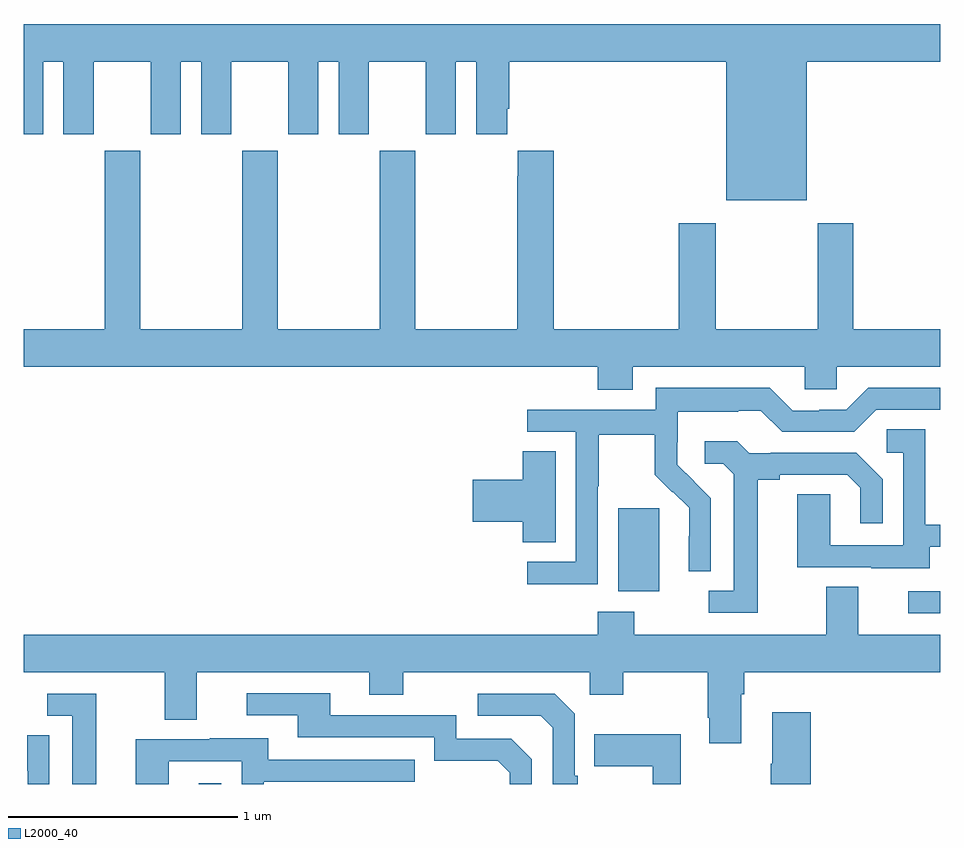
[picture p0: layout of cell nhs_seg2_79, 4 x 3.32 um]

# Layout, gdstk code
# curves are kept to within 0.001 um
import gdstk
lib = gdstk.Library(unit=1e-6, precision=1e-09)
def R(c, l, rs):  # rectangles x0, y0, x1, y1
    for r in rs: c.add(gdstk.rectangle(r[:2], r[2:], *l))
def P(c, l, *ps):  # polygons
    for p in ps: c.add(gdstk.Polygon(p, *l))
L2000_40 = (2000, 40)

nhs_seg2_79 = lib.new_cell('nhs_seg2_79')
R(nhs_seg2_79, L2000_40, [(113.765,661.8,113.862,661.804), (116.859,662.544,117,662.64), (115.595,662.642,115.774,663.003)])
P(nhs_seg2_79, L2000_40, [(116.416,664.952),(117,664.952),(117,665.116),(113,665.116),(113,664.635),(113.086,664.635),(113.086,664.952),(113.174,664.952),(113.174,664.635),(113.305,664.635),(113.305,664.952),(113.555,664.952),(113.555,664.635),(113.686,664.635),(113.686,664.952),(113.774,664.952),(113.774,664.635),(113.905,664.635),(113.905,664.952),(114.155,664.952),(114.155,664.635),(114.286,664.635),(114.286,664.952),(114.374,664.952),(114.374,664.635),(114.505,664.635),(114.505,664.952),(114.755,664.952),(114.755,664.635),(114.886,664.635),(114.886,664.952),(114.974,664.952),(114.974,664.635),(115.111,664.635),(115.111,664.747),(115.118,664.747),(115.118,664.952),(116.066,664.952),(116.066,664.346),(116.416,664.346)],
  [(115.657,663.62),(116.409,663.62),(116.409,663.522),(116.547,663.522),(116.547,663.62),(117,663.62),(117,663.784),(116.619,663.784),(116.619,664.246),(116.464,664.246),(116.464,663.784),(116.019,663.784),(116.019,664.246),(115.859,664.246),(115.859,663.784),(115.313,663.784),(115.313,664.564),(115.157,664.564),(115.157,664.451),(115.153,664.451),(115.153,663.784),(114.708,663.784),(114.708,664.564),(114.553,664.564),(114.553,663.784),(114.108,663.784),(114.108,664.564),(113.953,664.564),(113.953,663.784),(113.508,663.784),(113.508,664.564),(113.353,664.564),(113.353,663.784),(113,663.784),(113,663.62),(115.505,663.62),(115.505,663.521),(115.657,663.521)],
  [(115.506,663.1),(115.509,663.1),(115.509,663.324),(115.753,663.324),(115.753,663.149),(115.83,663.072),(115.833,663.075),(115.904,663.005),(115.904,662.882),(115.902,662.882),(115.902,662.728),(115.998,662.728),(115.998,663.046),(115.852,663.194),(115.852,663.291),(115.854,663.291),(115.854,663.425),(116.117,663.425),(116.117,663.429),(116.217,663.429),(116.31,663.336),(116.625,663.336),(116.721,663.432),(117,663.432),(117,663.528),(116.685,663.528),(116.589,663.432),(116.471,663.432),(116.471,663.429),(116.355,663.429),(116.255,663.529),(115.758,663.529),(115.758,663.432),(115.197,663.432),(115.197,663.336),(115.41,663.336),(115.41,662.769),(115.197,662.769),(115.197,662.671),(115.506,662.671)],
  [(116.953,662.835),(117,662.835),(117,662.931),(116.934,662.931),(116.934,663.347),(116.766,663.347),(116.766,663.246),(116.838,663.246),(116.838,662.841),(116.52,662.841),(116.52,663.065),(116.375,663.065),(116.375,662.745),(116.699,662.745),(116.699,662.741),(116.953,662.741)],
  [(116.203,663.128),(116.299,663.128),(116.299,663.15),(116.594,663.15),(116.651,663.093),(116.651,662.937),(116.748,662.937),(116.748,663.13),(116.632,663.246),(116.26,663.246),(116.26,663.243),(116.166,663.243),(116.114,663.295),(115.971,663.295),(115.971,663.198),(116.052,663.198),(116.099,663.151),(116.099,662.643),(115.989,662.643),(115.989,662.547),(116.203,662.547)],
  [(115.321,663.251),(115.178,663.251),(115.178,663.128),(114.96,663.128),(114.96,662.945),(115.178,662.945),(115.178,662.854),(115.321,662.854)],
  [(116.131,662.192),(116.144,662.192),(116.144,662.288),(117,662.288),(117,662.452),(116.641,662.452),(116.641,662.66),(116.501,662.66),(116.501,662.452),(115.665,662.452),(115.665,662.551),(115.505,662.551),(115.505,662.452),(113,662.452),(113,662.288),(113.615,662.288),(113.615,662.08),(113.755,662.08),(113.755,662.288),(114.509,662.288),(114.509,662.189),(114.657,662.189),(114.657,662.288),(115.47,662.288),(115.47,662.189),(115.617,662.189),(115.617,662.288),(115.984,662.288),(115.984,662.089),(115.991,662.089),(115.991,661.977),(116.131,661.977)],
  [(115.218,661.908),(115.128,661.998),(114.888,661.998),(114.888,662.1),(114.337,662.1),(114.337,662.196),(113.973,662.196),(113.973,662.1),(114.197,662.1),(114.197,662.004),(114.792,662.004),(114.792,661.901),(115.069,661.901),(115.122,661.848),(115.122,661.8),(115.218,661.8)],
  [(113.317,662.193),(113.103,662.193),(113.103,662.097),(113.213,662.097),(113.213,661.8),(113.317,661.8)],
  [(115.417,661.837),(115.404,661.837),(115.404,662.106),(115.317,662.193),(114.981,662.193),(114.981,662.097),(115.257,662.097),(115.308,662.046),(115.308,661.8),(115.417,661.8)],
  [(116.435,662.113),(116.267,662.113),(116.267,661.889),(116.26,661.889),(116.26,661.8),(116.435,661.8)],
  [(115.867,662.017),(115.489,662.017),(115.489,661.877),(115.746,661.877),(115.746,661.8),(115.867,661.8)],
  [(113.112,662.012),(113.016,662.012),(113.016,661.858),(113.018,661.858),(113.018,661.8),(113.112,661.8)],
  [(113.634,661.899),(113.952,661.899),(113.952,661.8),(114.048,661.8),(114.048,661.809),(114.707,661.809),(114.707,661.905),(114.067,661.905),(114.067,661.999),(113.813,661.999),(113.813,661.995),(113.489,661.995),(113.489,661.8),(113.634,661.8)])

lib.write_gds('nhs_seg2_79.gds')
